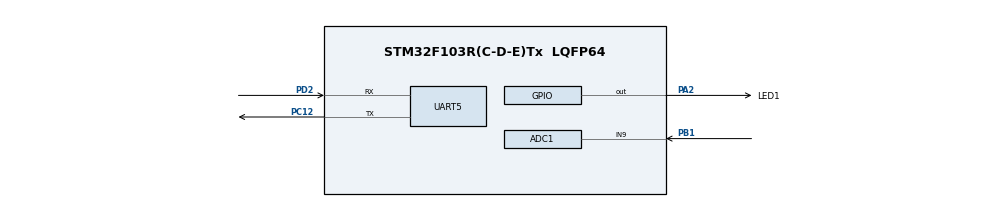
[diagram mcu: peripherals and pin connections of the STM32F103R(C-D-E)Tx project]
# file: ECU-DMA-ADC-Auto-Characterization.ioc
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ADC1.Channel-10\#ChannelRegularConversion=ADC_CHANNEL_9
ADC1.NbrOfConversionFlag=1
ADC1.Rank-10\#ChannelRegularConversion=1
ADC1.SamplingTime-10\#ChannelRegularConversion=ADC_SAMPLETIME_1CYCLE_5
ADC1.master=1
Dma.ADC1.0.Direction=DMA_PERIPH_TO_MEMORY
Dma.ADC1.0.Instance=DMA1_Channel1
Dma.ADC1.0.MemDataAlignment=DMA_MDATAALIGN_HALFWORD
Dma.ADC1.0.MemInc=DMA_MINC_ENABLE
Dma.ADC1.0.Mode=DMA_CIRCULAR
Dma.ADC1.0.PeriphDataAlignment=DMA_PDATAALIGN_HALFWORD
Dma.ADC1.0.PeriphInc=DMA_PINC_DISABLE
Dma.ADC1.0.Priority=DMA_PRIORITY_LOW
Dma.Request0=ADC1
Mcu.Family=STM32F1
Mcu.Name=STM32F103R(C-D-E)Tx
Mcu.Package=LQFP64
NVIC.DMA1_Channel1_IRQn=true\:0\:0\:false\:false\:true\:false\:true\:true
NVIC.PriorityGroup=NVIC_PRIORITYGROUP_4
PA13.Mode=Serial_Wire
PA13.Signal=SYS_JTMS-SWDIO
PA14.Mode=Serial_Wire
PA14.Signal=SYS_JTCK-SWCLK
PA2.GPIO_Label=LED1
PA2.Signal=GPIO_Output
PB1.Signal=ADCx_IN9
PC12.Mode=Asynchronous
PC12.Signal=UART5_TX
PD2.Mode=Asynchronous
PD2.Signal=UART5_RX
ProjectManager.HeapSize=0x200
ProjectManager.StackSize=0x400
ProjectManager.TargetToolchain=STM32CubeIDE
RCC.APB1Freq_Value=8000000
RCC.APB2Freq_Value=8000000
SH.ADCx_IN9.0=ADC1_IN9,IN9
TIM3.AutoReloadPreload=TIM_AUTORELOAD_PRELOAD_ENABLE
TIM3.Period=1
TIM3.Prescaler=4800-1
TIM3.TIM_MasterOutputTrigger=TIM_TRGO_UPDATE
UART5.VirtualMode=Asynchronous
VP_TIM3_VS_ClockSourceINT.Mode=Internal
board=custom

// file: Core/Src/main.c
/* USER CODE BEGIN Header */
/**
  ******************************************************************************
  * @file           : main.c
  * @brief          : Main program body
  ******************************************************************************
  * @attention
  *
  * Copyright (c) 2025 STMicroelectronics.
  * All rights reserved.
  *
  * This software is licensed under terms that can be found in the LICENSE file
  * in the root directory of this software component.
  * If no LICENSE file comes with this software, it is provided AS-IS.
  *
  ******************************************************************************
  */
/* USER CODE END Header */
#include "main.h"

ADC_HandleTypeDef hadc1;
DMA_HandleTypeDef hdma_adc1;

TIM_HandleTypeDef htim3;

UART_HandleTypeDef huart5;

void SystemClock_Config(void);
static void MX_GPIO_Init(void);
static void MX_DMA_Init(void);
static void MX_UART5_Init(void);
static void MX_ADC1_Init(void);
static void MX_TIM3_Init(void);

int main(void)
{

  /* MCU Configuration--------------------------------------------------------*/

  /* Reset of all peripherals, Initializes the Flash interface and the Systick. */
  HAL_Init();

  /* Configure the system clock */
  SystemClock_Config();

  /* Initialize all configured peripherals */
  MX_GPIO_Init();
  MX_DMA_Init();
  MX_UART5_Init();
  MX_ADC1_Init();
  MX_TIM3_Init();
  /* USER CODE BEGIN 2 */

  HAL_TIM_Base_Start(&htim3); // Start the timer that triggers the ADC
  HAL_ADC_Start_DMA(&hadc1, (uint32_t*)adcBuffer, sizeof(ADC_BUFFER_LENGTH));

  // should length be in bytes or in number of elements?
  // Answer from my expert friend: "It should be in bytes. The HAL_ADC_Start_DMA function takes the address of the buffer and the length of the buffer in bytes. The buffer is an array of 32-bit integers, so the length of the buffer in bytes is 128 * 4 = 512 bytes."
  // lmao i love copilot

  /* USER CODE END 2 */

  /* Infinite loop */
  while (1)
  {

    /* USER CODE BEGIN 3 */

    // This function waits until 's' is received on UART to continue
    // This way, from the Python script we can command the STM32 chip operate only when we tell it to
    Continue_On_UART_Receive(huart5);

	  HAL_GPIO_TogglePin(LED1_GPIO_Port, LED1_Pin); // Toggle the LED high when we're collecting or sending values

    int adcValuesAveraged = 0;
    int adcValuesADCAdjusted = 0;
    int adcValuesCurrentAdjusted = 0;
    Get_Averaged_ADC_Values(&adcValuesAveraged, &adcValuesADCAdjusted, &adcValuesCurrentAdjusted);

    Send_ADC_Values_Over_UART(huart5, adcValuesAveraged, adcValuesADCAdjusted, adcValuesCurrentAdjusted);

	  HAL_GPIO_TogglePin(LED1_GPIO_Port, LED1_Pin);
  }
  /* USER CODE END 3 */
}

void SystemClock_Config(void)
{
  RCC_OscInitTypeDef RCC_OscInitStruct = {0};
  RCC_ClkInitTypeDef RCC_ClkInitStruct = {0};
  RCC_PeriphCLKInitTypeDef PeriphClkInit = {0};

  /** Initializes the RCC Oscillators according to the specified parameters
  * in the RCC_OscInitTypeDef structure.
  */
  RCC_OscInitStruct.OscillatorType = RCC_OSCILLATORTYPE_HSI;
  RCC_OscInitStruct.HSIState = RCC_HSI_ON;
  RCC_OscInitStruct.HSICalibrationValue = RCC_HSICALIBRATION_DEFAULT;
  RCC_OscInitStruct.PLL.PLLState = RCC_PLL_NONE;
  if (HAL_RCC_OscConfig(&RCC_OscInitStruct) != HAL_OK)
  {
    Error_Handler();
  }

  /** Initializes the CPU, AHB and APB buses clocks
  */
  RCC_ClkInitStruct.ClockType = RCC_CLOCKTYPE_HCLK|RCC_CLOCKTYPE_SYSCLK
                              |RCC_CLOCKTYPE_PCLK1|RCC_CLOCKTYPE_PCLK2;
  RCC_ClkInitStruct.SYSCLKSource = RCC_SYSCLKSOURCE_HSI;
  RCC_ClkInitStruct.AHBCLKDivider = RCC_SYSCLK_DIV1;
  RCC_ClkInitStruct.APB1CLKDivider = RCC_HCLK_DIV1;
  RCC_ClkInitStruct.APB2CLKDivider = RCC_HCLK_DIV1;

  if (HAL_RCC_ClockConfig(&RCC_ClkInitStruct, FLASH_LATENCY_0) != HAL_OK)
  {
    Error_Handler();
  }
  PeriphClkInit.PeriphClockSelection = RCC_PERIPHCLK_ADC;
  PeriphClkInit.AdcClockSelection = RCC_ADCPCLK2_DIV2;
  if (HAL_RCCEx_PeriphCLKConfig(&PeriphClkInit) != HAL_OK)
  {
    Error_Handler();
  }
}

static void MX_ADC1_Init(void)
{

  ADC_ChannelConfTypeDef sConfig = {0};

  /** Common config
  */
  hadc1.Instance = ADC1;
  hadc1.Init.ScanConvMode = ADC_SCAN_DISABLE;
  hadc1.Init.ContinuousConvMode = DISABLE;
  hadc1.Init.DiscontinuousConvMode = DISABLE;
  hadc1.Init.ExternalTrigConv = ADC_SOFTWARE_START;
  hadc1.Init.DataAlign = ADC_DATAALIGN_RIGHT;
  hadc1.Init.NbrOfConversion = 1;
  if (HAL_ADC_Init(&hadc1) != HAL_OK)
  {
    Error_Handler();
  }

  /** Configure Regular Channel
  */
  sConfig.Channel = ADC_CHANNEL_9;
  sConfig.Rank = ADC_REGULAR_RANK_1;
  sConfig.SamplingTime = ADC_SAMPLETIME_1CYCLE_5;
  if (HAL_ADC_ConfigChannel(&hadc1, &sConfig) != HAL_OK)
  {
    Error_Handler();
  }

}

static void MX_TIM3_Init(void)
{

  TIM_ClockConfigTypeDef sClockSourceConfig = {0};
  TIM_MasterConfigTypeDef sMasterConfig = {0};

  htim3.Instance = TIM3;
  htim3.Init.Prescaler = 4800-1;
  htim3.Init.CounterMode = TIM_COUNTERMODE_UP;
  htim3.Init.Period = 1;
  htim3.Init.ClockDivision = TIM_CLOCKDIVISION_DIV1;
  htim3.Init.AutoReloadPreload = TIM_AUTORELOAD_PRELOAD_ENABLE;
  if (HAL_TIM_Base_Init(&htim3) != HAL_OK)
  {
    Error_Handler();
  }
  sClockSourceConfig.ClockSource = TIM_CLOCKSOURCE_INTERNAL;
  if (HAL_TIM_ConfigClockSource(&htim3, &sClockSourceConfig) != HAL_OK)
  {
    Error_Handler();
  }
  sMasterConfig.MasterOutputTrigger = TIM_TRGO_UPDATE;
  sMasterConfig.MasterSlaveMode = TIM_MASTERSLAVEMODE_DISABLE;
  if (HAL_TIMEx_MasterConfigSynchronization(&htim3, &sMasterConfig) != HAL_OK)
  {
    Error_Handler();
  }

}

static void MX_UART5_Init(void)
{

  huart5.Instance = UART5;
  huart5.Init.BaudRate = 115200;
  huart5.Init.WordLength = UART_WORDLENGTH_8B;
  huart5.Init.StopBits = UART_STOPBITS_1;
  huart5.Init.Parity = UART_PARITY_NONE;
  huart5.Init.Mode = UART_MODE_TX_RX;
  huart5.Init.HwFlowCtl = UART_HWCONTROL_NONE;
  huart5.Init.OverSampling = UART_OVERSAMPLING_16;
  if (HAL_UART_Init(&huart5) != HAL_OK)
  {
    Error_Handler();
  }

}

static void MX_DMA_Init(void)
{

  /* DMA controller clock enable */
  __HAL_RCC_DMA1_CLK_ENABLE();

  /* DMA interrupt init */
  /* DMA1_Channel1_IRQn interrupt configuration */
  HAL_NVIC_SetPriority(DMA1_Channel1_IRQn, 0, 0);
  HAL_NVIC_EnableIRQ(DMA1_Channel1_IRQn);

}

static void MX_GPIO_Init(void)
{
  GPIO_InitTypeDef GPIO_InitStruct = {0};

  /* GPIO Ports Clock Enable */
  __HAL_RCC_GPIOA_CLK_ENABLE();
  __HAL_RCC_GPIOB_CLK_ENABLE();
  __HAL_RCC_GPIOC_CLK_ENABLE();
  __HAL_RCC_GPIOD_CLK_ENABLE();

  /*Configure GPIO pin Output Level */
  HAL_GPIO_WritePin(LED1_GPIO_Port, LED1_Pin, GPIO_PIN_RESET);

  /*Configure GPIO pin : LED1_Pin */
  GPIO_InitStruct.Pin = LED1_Pin;
  GPIO_InitStruct.Mode = GPIO_MODE_OUTPUT_PP;
  GPIO_InitStruct.Pull = GPIO_NOPULL;
  GPIO_InitStruct.Speed = GPIO_SPEED_FREQ_LOW;
  HAL_GPIO_Init(LED1_GPIO_Port, &GPIO_InitStruct);

}

/* USER CODE BEGIN 4 */

// adc dma half complete callback
// We can't sum in the Get_Averaged_ADC_Values function because DMA would to writing into some part of the buffer at the same time
// REMEMBER!!!! This function might not be allowed to be outside of main.c, so if you run into issues during testing, that's probably it
void HAL_ADC_ConvHalfCpltCallback(ADC_HandleTypeDef* hadc){
  // send message over uart
  HAL_UART_Transmit(&huart5, (uint8_t*)"Half complete\n", 14, 1000);

  HAL_GPIO_WritePin(LED1_GPIO_Port, LED1_Pin, 1);
  int adcValuesSum = 0;
  for (int i = 0; i < ADC_BUFFER_LENGTH / 2; i++){
    adcValuesSum += adcBuffer[i];
  }
  adcAveragedValue = adcValuesSum / (ADC_BUFFER_LENGTH / 2);
}

// adc dma full complete callback
void HAL_ADC_ConvCpltCallback(ADC_HandleTypeDef* hadc){
  HAL_UART_Transmit(&huart5, (uint8_t*)"Comp complete\n", 14, 1000);

  HAL_GPIO_WritePin(LED1_GPIO_Port, LED1_Pin, 1);
  int adcValuesSum = 0;
  for (int i = ADC_BUFFER_LENGTH/2; i < ADC_BUFFER_LENGTH; i++){
    adcValuesSum += adcBuffer[i];
  }
  adcAveragedValue = adcValuesSum / (ADC_BUFFER_LENGTH / 2);
}

/* USER CODE END 4 */

void Error_Handler(void)
{
  __disable_irq();
  while (1)
  {
  }
}
